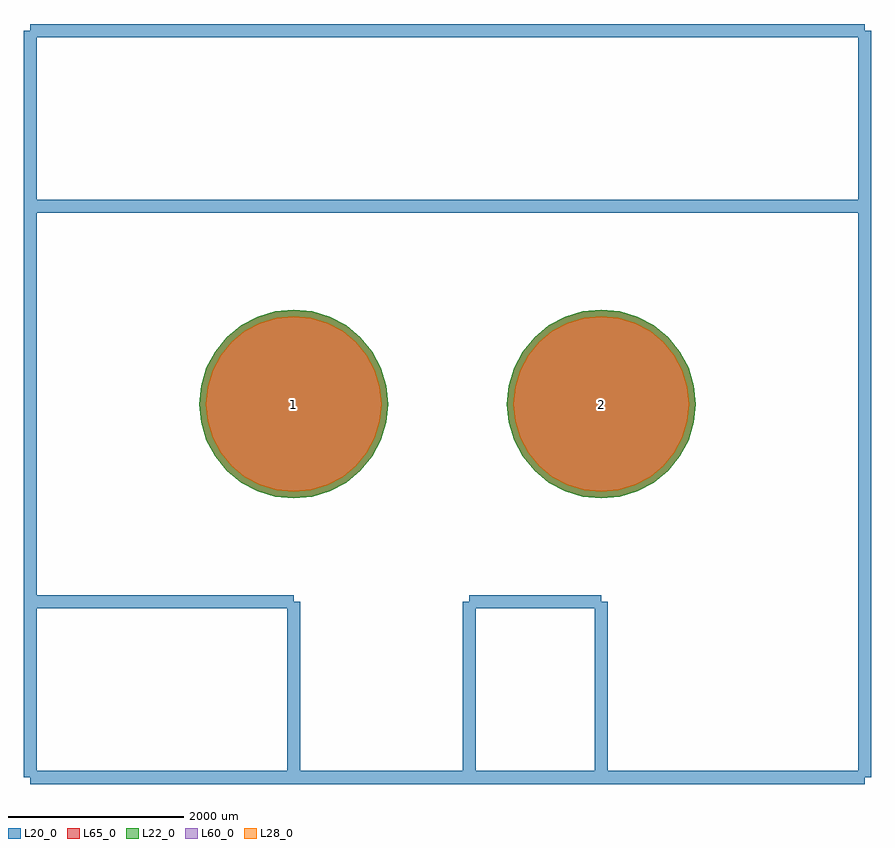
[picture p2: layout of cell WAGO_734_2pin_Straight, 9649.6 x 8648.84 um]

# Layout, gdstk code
import gdstk
lib = gdstk.Library(unit=1e-6, precision=1e-09)
def P(c, l, *ps):  # polygons
    for p in ps: c.add(gdstk.Polygon(p, *l))
L20_0 = (20, 0)
L22_0 = (22, 0)
L28_0 = (28, 0)
L60_0 = (60, 0)
L65_0 = (65, 0)

wago_734_2pin_straight = lib.new_cell('WAGO_734_2pin_Straight')
P(wago_734_2pin_straight, L22_0, [(-675.57,0),(-696.216,209.623),(-757.361,411.19),(-856.654,596.955),(-990.281,759.779),(-1153.105,893.406),(-1338.87,992.699),(-1540.437,1053.844),(-1750.06,1074.49),(-1959.683,1053.844),(-2161.25,992.699),(-2347.015,893.406),(-2509.839,759.779),(-2643.466,596.955),(-2742.759,411.19),(-2803.904,209.623),(-2824.55,0),(-2803.904,-209.623),(-2742.759,-411.19),(-2643.466,-596.955),(-2509.839,-759.779),(-2347.015,-893.406),(-2161.25,-992.699),(-1959.683,-1053.844),(-1750.06,-1074.49),(-1540.437,-1053.844),(-1338.87,-992.699),(-1153.105,-893.406),(-990.281,-759.779),(-856.654,-596.955),(-757.361,-411.19),(-696.216,-209.623)],
  [(2824.55,0),(2803.904,209.623),(2742.759,411.19),(2643.466,596.955),(2509.839,759.779),(2347.015,893.406),(2161.25,992.699),(1959.683,1053.844),(1750.06,1074.49),(1540.437,1053.844),(1338.87,992.699),(1153.105,893.406),(990.281,759.779),(856.654,596.955),(757.361,411.19),(696.216,209.623),(675.57,0),(696.216,-209.623),(757.361,-411.19),(856.654,-596.955),(990.281,-759.779),(1153.105,-893.406),(1338.87,-992.699),(1540.437,-1053.844),(1750.06,-1074.49),(1959.683,-1053.844),(2161.25,-992.699),(2347.015,-893.406),(2509.839,-759.779),(2643.466,-596.955),(2742.759,-411.19),(2803.904,-209.623)])
P(wago_734_2pin_straight, L28_0, [(-750.57,0),(-769.775,194.991),(-826.652,382.488),(-919.014,555.287),(-1043.314,706.746),(-1194.773,831.046),(-1367.572,923.408),(-1555.069,980.285),(-1750.06,999.49),(-1945.051,980.285),(-2132.548,923.408),(-2305.347,831.046),(-2456.806,706.746),(-2581.106,555.287),(-2673.468,382.488),(-2730.345,194.991),(-2749.55,0),(-2730.345,-194.991),(-2673.468,-382.488),(-2581.106,-555.287),(-2456.806,-706.746),(-2305.347,-831.046),(-2132.548,-923.408),(-1945.051,-980.285),(-1750.06,-999.49),(-1555.069,-980.285),(-1367.572,-923.408),(-1194.773,-831.046),(-1043.314,-706.746),(-919.014,-555.287),(-826.652,-382.488),(-769.775,-194.991)],
  [(2749.55,0),(2730.345,194.991),(2673.468,382.488),(2581.106,555.287),(2456.806,706.746),(2305.347,831.046),(2132.548,923.408),(1945.051,980.285),(1750.06,999.49),(1555.069,980.285),(1367.572,923.408),(1194.773,831.046),(1043.314,706.746),(919.014,555.287),(826.652,382.488),(769.775,194.991),(750.57,0),(769.775,-194.991),(826.652,-382.488),(919.014,-555.287),(1043.314,-706.746),(1194.773,-831.046),(1367.572,-923.408),(1555.069,-980.285),(1750.06,-999.49),(1945.051,-980.285),(2132.548,-923.408),(2305.347,-831.046),(2456.806,-706.746),(2581.106,-555.287),(2673.468,-382.488),(2730.345,-194.991)])
P(wago_734_2pin_straight, L60_0, [(-750.57,0),(-769.775,194.991),(-826.652,382.488),(-919.014,555.287),(-1043.314,706.746),(-1194.773,831.046),(-1367.572,923.408),(-1555.069,980.285),(-1750.06,999.49),(-1945.051,980.285),(-2132.548,923.408),(-2305.347,831.046),(-2456.806,706.746),(-2581.106,555.287),(-2673.468,382.488),(-2730.345,194.991),(-2749.55,0),(-2730.345,-194.991),(-2673.468,-382.488),(-2581.106,-555.287),(-2456.806,-706.746),(-2305.347,-831.046),(-2132.548,-923.408),(-1945.051,-980.285),(-1750.06,-999.49),(-1555.069,-980.285),(-1367.572,-923.408),(-1194.773,-831.046),(-1043.314,-706.746),(-919.014,-555.287),(-826.652,-382.488),(-769.775,-194.991)],
  [(2749.55,0),(2730.345,194.991),(2673.468,382.488),(2581.106,555.287),(2456.806,706.746),(2305.347,831.046),(2132.548,923.408),(1945.051,980.285),(1750.06,999.49),(1555.069,980.285),(1367.572,923.408),(1194.773,831.046),(1043.314,706.746),(919.014,555.287),(826.652,382.488),(769.775,194.991),(750.57,0),(769.775,-194.991),(826.652,-382.488),(919.014,-555.287),(1043.314,-706.746),(1194.773,-831.046),(1367.572,-923.408),(1555.069,-980.285),(1750.06,-999.49),(1945.051,-980.285),(2132.548,-923.408),(2305.347,-831.046),(2456.806,-706.746),(2581.106,-555.287),(2673.468,-382.488),(2730.345,-194.991)])
P(wago_734_2pin_straight, L65_0, [(-675.57,0),(-696.216,209.623),(-757.361,411.19),(-856.654,596.955),(-990.281,759.779),(-1153.105,893.406),(-1338.87,992.699),(-1540.437,1053.844),(-1750.06,1074.49),(-1959.683,1053.844),(-2161.25,992.699),(-2347.015,893.406),(-2509.839,759.779),(-2643.466,596.955),(-2742.759,411.19),(-2803.904,209.623),(-2824.55,0),(-2803.904,-209.623),(-2742.759,-411.19),(-2643.466,-596.955),(-2509.839,-759.779),(-2347.015,-893.406),(-2161.25,-992.699),(-1959.683,-1053.844),(-1750.06,-1074.49),(-1540.437,-1053.844),(-1338.87,-992.699),(-1153.105,-893.406),(-990.281,-759.779),(-856.654,-596.955),(-757.361,-411.19),(-696.216,-209.623)],
  [(2824.55,0),(2803.904,209.623),(2742.759,411.19),(2643.466,596.955),(2509.839,759.779),(2347.015,893.406),(2161.25,992.699),(1959.683,1053.844),(1750.06,1074.49),(1540.437,1053.844),(1338.87,992.699),(1153.105,893.406),(990.281,759.779),(856.654,596.955),(757.361,411.19),(696.216,209.623),(675.57,0),(696.216,-209.623),(757.361,-411.19),(856.654,-596.955),(990.281,-759.779),(1153.105,-893.406),(1338.87,-992.699),(1540.437,-1053.844),(1750.06,-1074.49),(1959.683,-1053.844),(2161.25,-992.699),(2347.015,-893.406),(2509.839,-759.779),(2643.466,-596.955),(2742.759,-411.19),(2803.904,-209.623)])
wago_734_2pin_straight.add(gdstk.FlexPath([(-4749.8,-4249.42),(4749.8,-4249.42)], 149.998, ends="flush", simple_path=True, layer=20, datatype=0))  # L20_0
wago_734_2pin_straight.add(gdstk.FlexPath([(-4749.8,4249.42),(-4749.8,-4249.42)], 149.998, ends="flush", simple_path=True, layer=20, datatype=0))  # L20_0
wago_734_2pin_straight.add(gdstk.FlexPath([(4749.8,4249.42),(-4749.8,4249.42)], 149.998, ends="flush", simple_path=True, layer=20, datatype=0))  # L20_0
wago_734_2pin_straight.add(gdstk.FlexPath([(4749.8,-4249.42),(4749.8,4249.42)], 149.998, ends="flush", simple_path=True, layer=20, datatype=0))  # L20_0
wago_734_2pin_straight.add(gdstk.FlexPath([(-1750.06,-2250.44),(-1750.06,-4201.16)], 149.998, ends="flush", simple_path=True, layer=20, datatype=0))  # L20_0
wago_734_2pin_straight.add(gdstk.FlexPath([(-4749.8,-2250.44),(-1750.06,-2250.44)], 149.998, ends="flush", simple_path=True, layer=20, datatype=0))  # L20_0
wago_734_2pin_straight.add(gdstk.FlexPath([(1750.06,-2250.44),(1750.06,-4249.42)], 149.998, ends="flush", simple_path=True, layer=20, datatype=0))  # L20_0
wago_734_2pin_straight.add(gdstk.FlexPath([(248.92,-2250.44),(1750.06,-2250.44)], 149.998, ends="flush", simple_path=True, layer=20, datatype=0))  # L20_0
wago_734_2pin_straight.add(gdstk.FlexPath([(248.92,-4249.42),(248.92,-2250.44)], 149.998, ends="flush", simple_path=True, layer=20, datatype=0))  # L20_0
wago_734_2pin_straight.add(gdstk.FlexPath([(-4749.8,2250.44),(4749.8,2250.44)], 149.998, ends="flush", simple_path=True, layer=20, datatype=0))  # L20_0
wago_734_2pin_straight.add(gdstk.Label('1', (-1750.06,0), layer=28, texttype=0))
wago_734_2pin_straight.add(gdstk.Label('2', (1750.06,0), layer=28, texttype=0))
wago_734_2pin_straight.add(gdstk.Label('type', (0,-6350), layer=9, texttype=0))
wago_734_2pin_straight.add(gdstk.Label('devicename', (0,6350), layer=9, texttype=0))

lib.write_gds('WAGO_734_2pin_Straight.gds')
